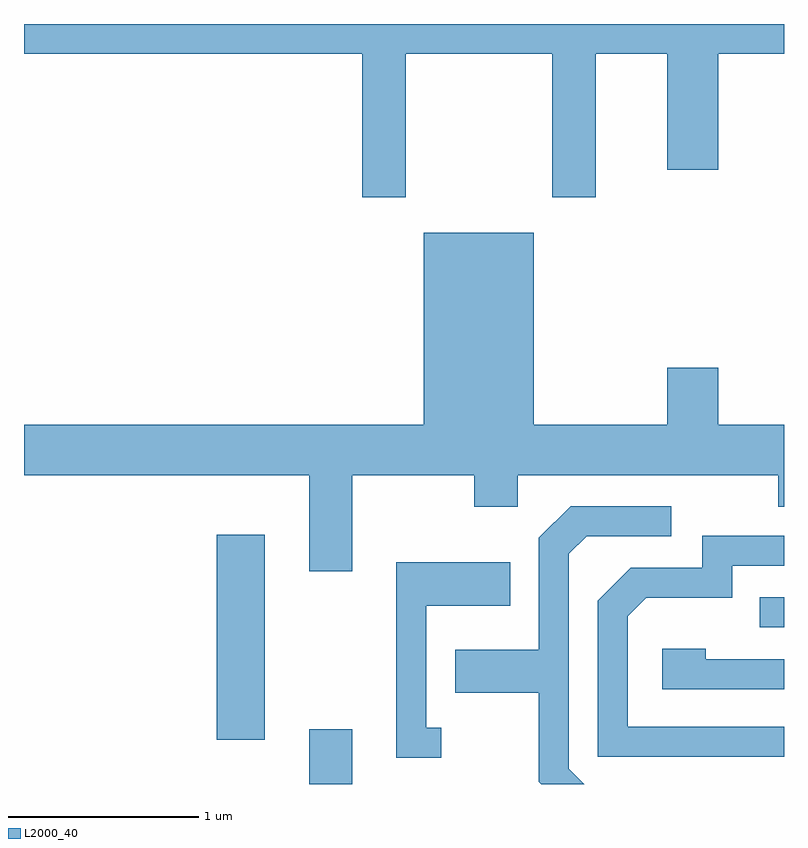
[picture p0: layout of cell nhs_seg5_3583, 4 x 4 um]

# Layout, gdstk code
import gdstk
lib = gdstk.Library(unit=1e-6, precision=1e-09)
def R(c, l, rs):  # rectangles x0, y0, x1, y1
    for r in rs: c.add(gdstk.rectangle(r[:2], r[2:], *l))
def P(c, l, *ps):  # polygons
    for p in ps: c.add(gdstk.Polygon(p, *l))
L2000_40 = (2000, 40)

nhs_seg5_3583 = lib.new_cell('nhs_seg5_3583')
R(nhs_seg5_3583, L2000_40, [(293.111,1444.072,293.339,1444.359), (292.626,1444.306,292.879,1445.384), (295.483,1444.896,295.611,1445.054)])
P(nhs_seg5_3583, L2000_40, [(293.619,1447.916),(294.391,1447.916),(294.391,1447.161),(294.619,1447.161),(294.619,1447.916),(294.996,1447.916),(294.996,1447.306),(295.264,1447.306),(295.264,1447.916),(295.611,1447.916),(295.611,1448.072),(291.611,1448.072),(291.611,1447.916),(293.391,1447.916),(293.391,1447.161),(293.619,1447.161)],
  [(293.339,1445.696),(293.981,1445.696),(293.981,1445.531),(294.209,1445.531),(294.209,1445.696),(295.581,1445.696),(295.581,1445.531),(295.611,1445.531),(295.611,1445.964),(295.264,1445.964),(295.264,1446.264),(294.996,1446.264),(294.996,1445.964),(294.294,1445.964),(294.294,1446.974),(293.716,1446.974),(293.716,1445.964),(291.611,1445.964),(291.611,1445.696),(293.111,1445.696),(293.111,1445.191),(293.339,1445.191)],
  [(294.479,1444.152),(294.479,1445.284),(294.572,1445.376),(295.018,1445.376),(295.018,1445.534),(294.489,1445.534),(294.321,1445.367),(294.321,1444.779),(293.881,1444.779),(293.881,1444.551),(294.321,1444.551),(294.321,1444.084),(294.333,1444.072),(294.559,1444.072)],
  [(295.611,1444.374),(294.789,1444.374),(294.789,1444.954),(294.887,1445.051),(295.339,1445.051),(295.339,1445.221),(295.611,1445.221),(295.611,1445.379),(295.181,1445.379),(295.181,1445.209),(294.804,1445.209),(294.631,1445.037),(294.631,1444.216),(295.611,1444.216)],
  [(293.808,1444.369),(293.729,1444.369),(293.729,1445.011),(294.169,1445.011),(294.169,1445.239),(293.571,1445.239),(293.571,1444.211),(293.808,1444.211)],
  [(295.611,1444.729),(295.199,1444.729),(295.199,1444.784),(294.971,1444.784),(294.971,1444.571),(295.611,1444.571)])

lib.write_gds('nhs_seg5_3583.gds')
